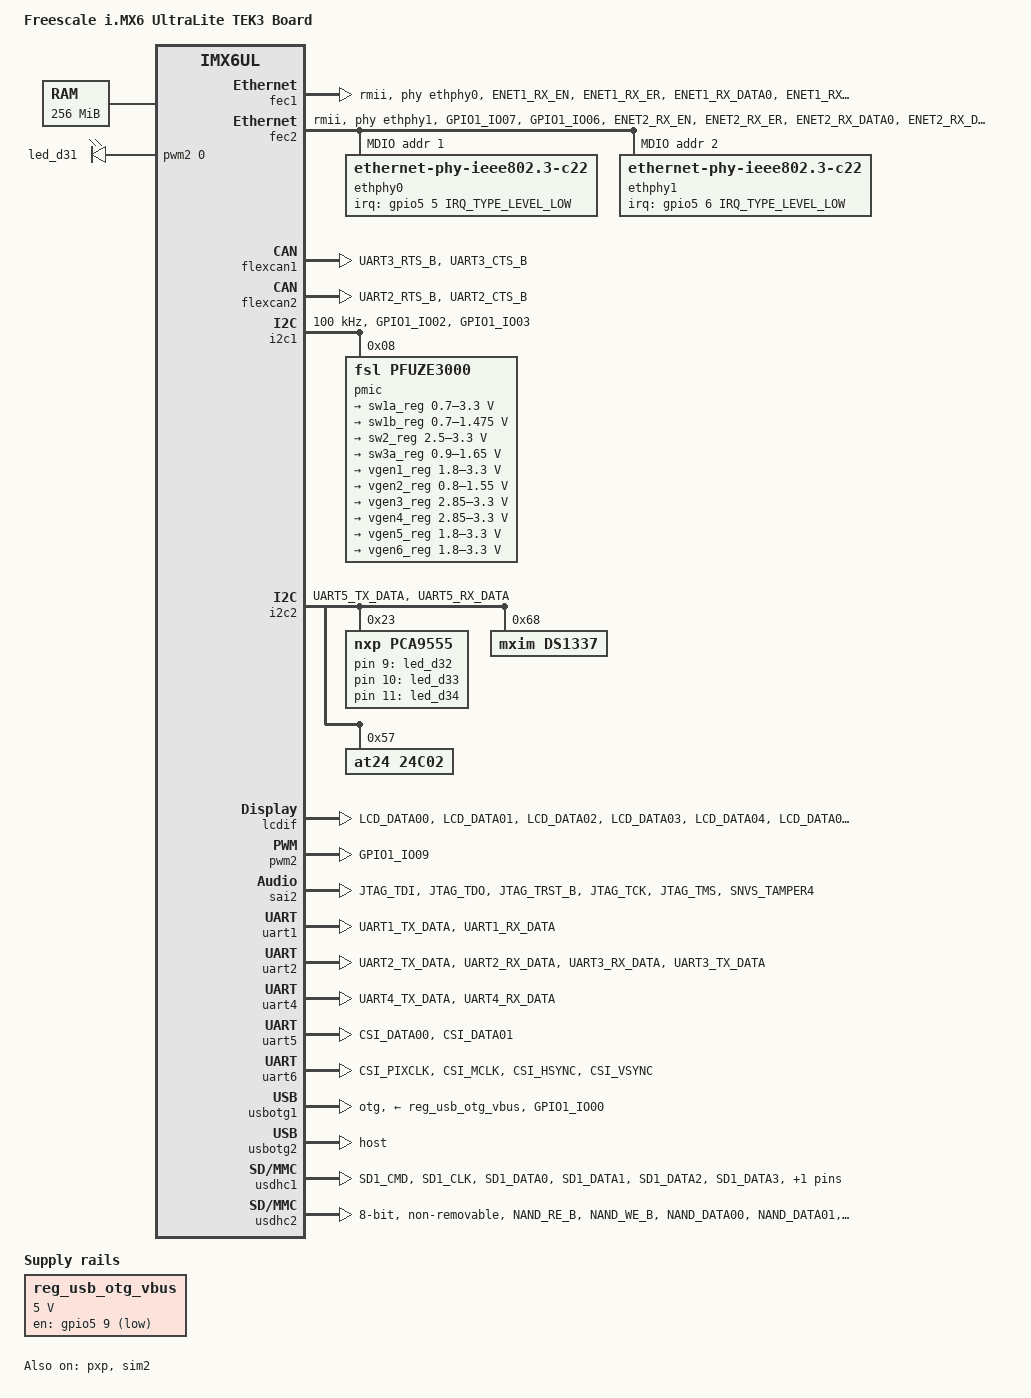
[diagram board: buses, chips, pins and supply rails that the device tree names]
/*
 * Copyright 2016 Technexion Ltd.
 *
 * Author: Richard Hu <richard.hu@technexion.com>
 *
 *
 * This program is free software; you can redistribute it and/or modify
 * it under the terms of the GNU General Public License version 2 as
 * published by the Free Software Foundation.
 *
 */

/dts-v1/;

#include <dt-bindings/input/input.h>
#include "imx6ul.dtsi"

/ {
	model = "Freescale i.MX6 UltraLite TEK3 Board";
	compatible = "fsl,imx6ul-tek3", "fsl,imx6ul";

	chosen {
		stdout-path = &uart1;
	};

	memory {
		reg = <0x80000000 0x10000000>;
	};

	reserved-memory {
		#address-cells = <1>;
		#size-cells = <1>;
		ranges;

		linux,cma {
			compatible = "shared-dma-pool";
			reusable;
			size = <0x6000000>;
			linux,cma-default;
		};
	};

	pxp_v4l2 {
		compatible = "fsl,imx6ul-pxp-v4l2", "fsl,imx6sx-pxp-v4l2", "fsl,imx6sl-pxp-v4l2";
		status = "okay";
	};

	regulators {
		compatible = "simple-bus";
		#address-cells = <1>;
		#size-cells = <0>;

		reg_usb_otg_vbus: regulator@0 {
			compatible = "regulator-fixed";
			reg = <0>;
			pinctrl-names = "default";
			pinctrl-0 = <&pinctrl_usb_otg1>;
			regulator-name = "usb_otg_vbus";
			regulator-min-microvolt = <5000000>;
			regulator-max-microvolt = <5000000>;
			gpio = <&gpio5 9 0>;
		};
	};

	gpio-edm {
		compatible = "gpio-edm";

		gpio_expio1 {
			label = "GPIO_EXPIO1";
			gpios = <&pca9555 12 0>;
			dir   = "out";
		};
		gpio_expio2 {
			label = "GPIO_EXPIO2";
			gpios = <&pca9555 13 0>;
			dir   = "out";
		};
		gpio_expio3 {
			label = "GPIO_EXPIO3";
			gpios = <&pca9555 14 0>;
			dir   = "in";
		};
		gpio_expio4 {
			label = "GPIO_EXPIO4";
			gpios = <&pca9555 15 0>;
			dir   = "in";
		};
		gpio_p133 {
			label = "GPIO_P133";
			gpios = <&pca9555 0 0>;
			dir   = "out";
		};
		gpio_p135 {
			label = "GPIO_P135";
			gpios = <&pca9555 1 0>;
			dir   = "out";
		};
		gpio_p137 {
			label = "GPIO_P137";
			gpios = <&pca9555 2 0>;
			dir   = "in";
		};
		gpio_p139 {
			label = "GPIO_P139";
			gpios = <&pca9555 3 0>;
			dir   = "in";
		};
		gpio_p233 {
			label = "GPIO_P233";
			gpios = <&gpio1 4 1>;
			dir   = "out";
		};
		gpio_p235 {
			label = "GPIO_P235";
			gpios = <&gpio1 5 1>;
			dir   = "out";
		};
		gpio_p237 {
			label = "GPIO_P237";
			gpios = <&gpio4 16 1>;
			dir   = "in";
		};
		gpio_p239 {
			label = "GPIO_P239";
			gpios = <&pca9555 4 1>;
			dir   = "in";
		};
		gpio_p241 {
			label = "GPIO_P241";
			gpios = <&pca9555 5 1>;
			dir   = "out";
		};
		gpio_p243 {
			label = "GPIO_P243";
			gpios = <&pca9555 6 1>;
			dir   = "out";
		};
		gpio_p245 {
			label = "GPIO_P245";
			gpios = <&pca9555 7 1>;
			dir   = "in";
		};
		gpio_p247 {
			label = "GPIO_P247";
			gpios = <&pca9555 8 1>;
			dir   = "in";
		};
	};

	gpio-leds {
		compatible = "gpio-leds";

		led_d32 {
			gpios = <&pca9555 9 0>;
			default-state = "on";
		};

		led_d33 {
			gpios = <&pca9555 10 0>;
			default-state = "on";
		};

		led_d34 {
			gpios = <&pca9555 11 0>;
			default-state = "on";
		};
	};

	pwm-leds {
		compatible = "pwm-leds";

		led_d31 {
			label = "led_d31";
			pwms = <&pwm2 0 5000000>;
			max-brightness = <255>;
			linux,default-trigger = "default-on";
		};
	};
};

&cpu0 {
	/*
	 * on i.MX6UL, no seperated VDD_ARM_IN and VDD_SOC_IN,
	 * to align with other platform and use the same cpufreq
	 * driver, still use the seperated OPP define for arm
	 * and soc.
	 */
	operating-points = <
		/* kHz	uV */
		528000	1175000
		396000	1175000
		198000	1175000
	>;
	fsl,soc-operating-points = <
		/* KHz	uV */
		528000	1175000
		396000	1175000
		198000	1175000
	>;
	arm-supply = <&sw1b_reg>;
	soc-supply = <&sw1b_reg>;
	fsl,arm-soc-shared = <1>;
};

&clks {
	assigned-clocks = <&clks IMX6UL_CLK_PLL4_AUDIO_DIV>;
	assigned-clock-rates = <786432000>;
};

&fec1 {
	pinctrl-names = "default";
	pinctrl-0 = <&pinctrl_enet1>;
	phy-mode = "rmii";
	phy-handle = <&ethphy0>;
	status = "okay";
	phy-reset-gpios = <&gpio5 2 GPIO_ACTIVE_LOW>;
	phy-reset-duration = <11>;
};

&fec2 {
	pinctrl-names = "default";
	pinctrl-0 = <&pinctrl_enet2>;
	phy-mode = "rmii";
	phy-handle = <&ethphy1>;
	status = "okay";
	phy-reset-gpios = <&gpio5 3 GPIO_ACTIVE_LOW>;
	phy-reset-duration = <11>;

	mdio {
		#address-cells = <1>;
		#size-cells = <0>;

		ethphy0: ethernet-phy@1 {
			compatible = "ethernet-phy-ieee802.3-c22";
			reg = <1>;
			max-speed = <100>;
			interrupt-parent = <&gpio5>;
			interrupts = <5 IRQ_TYPE_LEVEL_LOW 0>;
		};

		ethphy1: ethernet-phy@2 {
			compatible = "ethernet-phy-ieee802.3-c22";
			reg = <2>;
			max-speed = <100>;
			interrupt-parent = <&gpio5>;
			interrupts = <6 IRQ_TYPE_LEVEL_LOW 0>;
		};
	};
};

&flexcan1 {
	pinctrl-names = "default";
	pinctrl-0 = <&pinctrl_flexcan1>;
	status = "okay";
};

&flexcan2 {
	pinctrl-names = "default";
	pinctrl-0 = <&pinctrl_flexcan2>;
	status = "okay";
};

&gpc {
	fsl,cpu_pupscr_sw2iso = <0x1>;
	fsl,cpu_pupscr_sw = <0x0>;
	fsl,cpu_pdnscr_iso2sw = <0x1>;
	fsl,cpu_pdnscr_iso = <0x1>;
	fsl,ldo-bypass = <0>; /* DCDC, ldo-enable */
};

&i2c1 {
	clock-frequency = <100000>;
	pinctrl-names = "default";
	pinctrl-0 = <&pinctrl_i2c1>;
	status = "okay";

	pmic: pfuze3000@08 {
		compatible = "fsl,pfuze3000";
		reg = <0x08>;

		regulators {
			sw1a_reg: sw1a {
				regulator-min-microvolt = <700000>;
				regulator-max-microvolt = <3300000>;
				regulator-boot-on;
				regulator-always-on;
				regulator-ramp-delay = <6250>;
			};

			/* VDD_ARM_SOC_IN*/
			sw1b_reg: sw1b {
				regulator-min-microvolt = <700000>;
				regulator-max-microvolt = <1475000>;
				regulator-boot-on;
				regulator-always-on;
				regulator-ramp-delay = <6250>;
			};

			sw2_reg: sw2 {
				regulator-min-microvolt = <2500000>;
				regulator-max-microvolt = <3300000>;
				regulator-boot-on;
				regulator-always-on;
			};

			/* DRAM */
			sw3a_reg: sw3 {
				regulator-min-microvolt = <900000>;
				regulator-max-microvolt = <1650000>;
				regulator-boot-on;
				regulator-always-on;
			};

			/* DRAM */
			vref_reg: vrefddr {
				regulator-boot-on;
				regulator-always-on;
			};

			vgen1_reg: vldo1 {
				regulator-min-microvolt = <1800000>;
				regulator-max-microvolt = <3300000>;
				regulator-always-on;
			};

			vgen2_reg: vldo2 {
				regulator-min-microvolt = <800000>;
				regulator-max-microvolt = <1550000>;
				regulator-always-on;
			};

			vgen3_reg: vccsd {
				regulator-min-microvolt = <2850000>;
				regulator-max-microvolt = <3300000>;
				regulator-always-on;
			};

			vgen4_reg: v33 {
				regulator-min-microvolt = <2850000>;
				regulator-max-microvolt = <3300000>;
				regulator-always-on;
			};

			vgen5_reg: vldo3 {
				regulator-min-microvolt = <1800000>;
				regulator-max-microvolt = <3300000>;
				regulator-always-on;
			};

			vgen6_reg: vldo4 {
				regulator-min-microvolt = <1800000>;
				regulator-max-microvolt = <3300000>;
				regulator-always-on;
			};
		};
	};
};

&i2c2 {
	clock_frequency = <100000>;
	pinctrl-names = "default";
	pinctrl-0 = <&pinctrl_i2c2>;
	status = "okay";

	pca9555: pca9555@23 {
		compatible = "nxp,pca9555";
//		interrupt-parent = <&gpio1>;
//		interrupts = <7 0x2>;
		gpio-controller;
		#gpio-cells = <2>;
//		interrupt-controller;
		#interrupt-cells = <2>;
		reg = <0x23>;
	};

	ds1337: rtc@68 {
		compatible = "mxim,ds1337";
		reg = <0x68>;
	};

	at24@57 {
		compatible = "at24,24c02";
		pagesize = <8>;
		reg = <0x57>;
	};
};

&iomuxc {
	pinctrl-names = "default";
	pinctrl-0 = <&pinctrl_hog_1>;
	imx6ul-tek3 {
		pinctrl_hog_1: hoggrp-1 {
			fsl,pins = <
				MX6UL_PAD_UART1_RTS_B__GPIO1_IO19	0x17059		/* SD1 CD */
				MX6UL_PAD_GPIO1_IO08__GPIO1_IO08	0x03029 /* PCA9555 interrupt */
				MX6UL_PAD_GPIO1_IO04__GPIO1_IO04	0x1b0b9		/* IO expansion board output- GPIO_P233 - 1   */
				MX6UL_PAD_GPIO1_IO05__GPIO1_IO05	0x1b0b9		/* IO expansion board output- GPIO_P235 - 41  */
				MX6UL_PAD_NAND_DQS__GPIO4_IO16		0x80000000	/* IO expansion board input - GPIO_P237 - 42  */
			>;
		};

		pinctrl_csi1: csi1grp {
			fsl,pins = <
				MX6UL_PAD_CSI_MCLK__CSI_MCLK		0x1b088
				MX6UL_PAD_CSI_PIXCLK__CSI_PIXCLK	0x1b088
				MX6UL_PAD_CSI_VSYNC__CSI_VSYNC		0x1b088
				MX6UL_PAD_CSI_HSYNC__CSI_HSYNC		0x1b088
				MX6UL_PAD_CSI_DATA00__CSI_DATA02	0x1b088
				MX6UL_PAD_CSI_DATA01__CSI_DATA03	0x1b088
				MX6UL_PAD_CSI_DATA02__CSI_DATA04	0x1b088
				MX6UL_PAD_CSI_DATA03__CSI_DATA05	0x1b088
				MX6UL_PAD_CSI_DATA04__CSI_DATA06	0x1b088
				MX6UL_PAD_CSI_DATA05__CSI_DATA07	0x1b088
				MX6UL_PAD_CSI_DATA06__CSI_DATA08	0x1b088
				MX6UL_PAD_CSI_DATA07__CSI_DATA09	0x1b088
			>;
		};

		pinctrl_enet1: enet1grp {
			fsl,pins = <
				MX6UL_PAD_ENET1_RX_EN__ENET1_RX_EN	0x1b0b0
				MX6UL_PAD_ENET1_RX_ER__ENET1_RX_ER	0x1b0b0
				MX6UL_PAD_ENET1_RX_DATA0__ENET1_RDATA00	0x1b0b0
				MX6UL_PAD_ENET1_RX_DATA1__ENET1_RDATA01	0x1b0b0
				MX6UL_PAD_ENET1_TX_EN__ENET1_TX_EN	0x1b0b0
				MX6UL_PAD_ENET1_TX_DATA0__ENET1_TDATA00	0x1b0b0
				MX6UL_PAD_ENET1_TX_DATA1__ENET1_TDATA01	0x1b0b0
				MX6UL_PAD_ENET1_TX_CLK__ENET1_REF_CLK1	0x4001b031
				MX6UL_PAD_SNVS_TAMPER5__GPIO5_IO05	0x800
				MX6UL_PAD_SNVS_TAMPER2__GPIO5_IO02	0x79
			>;
		};

		pinctrl_enet2: enet2grp {
			fsl,pins = <
				MX6UL_PAD_GPIO1_IO07__ENET2_MDC		0x1b0b0
				MX6UL_PAD_GPIO1_IO06__ENET2_MDIO	0x1b0b0
				MX6UL_PAD_ENET2_RX_EN__ENET2_RX_EN	0x1b0b0
				MX6UL_PAD_ENET2_RX_ER__ENET2_RX_ER	0x1b0b0
				MX6UL_PAD_ENET2_RX_DATA0__ENET2_RDATA00	0x1b0b0
				MX6UL_PAD_ENET2_RX_DATA1__ENET2_RDATA01	0x1b0b0
				MX6UL_PAD_ENET2_TX_EN__ENET2_TX_EN	0x1b0b0
				MX6UL_PAD_ENET2_TX_DATA0__ENET2_TDATA00	0x1b0b0
				MX6UL_PAD_ENET2_TX_DATA1__ENET2_TDATA01	0x1b0b0
				MX6UL_PAD_ENET2_TX_CLK__ENET2_REF_CLK2	0x4001b031
				MX6UL_PAD_SNVS_TAMPER6__GPIO5_IO06	0x800
				MX6UL_PAD_SNVS_TAMPER3__GPIO5_IO03	0x79
			>;
		};

		pinctrl_flexcan1: flexcan1grp{
			fsl,pins = <
				MX6UL_PAD_UART3_RTS_B__FLEXCAN1_RX	0x1b020
				MX6UL_PAD_UART3_CTS_B__FLEXCAN1_TX	0x1b020
			>;
		};

		pinctrl_flexcan2: flexcan2grp{
			fsl,pins = <
				MX6UL_PAD_UART2_RTS_B__FLEXCAN2_RX	0x1b020
				MX6UL_PAD_UART2_CTS_B__FLEXCAN2_TX	0x1b020
			>;
		};

		pinctrl_i2c1: i2c1grp {
			fsl,pins = <
				MX6UL_PAD_GPIO1_IO02__I2C1_SCL 0x4001b8b0
				MX6UL_PAD_GPIO1_IO03__I2C1_SDA 0x4001b8b0
			>;
		};

		pinctrl_i2c2: i2c2grp {
			fsl,pins = <
				MX6UL_PAD_UART5_TX_DATA__I2C2_SCL 0x4001b8b0
				MX6UL_PAD_UART5_RX_DATA__I2C2_SDA 0x4001b8b0
			>;
		};

		pinctrl_lcdif_dat: lcdifdatgrp {
			fsl,pins = <
				MX6UL_PAD_LCD_DATA00__LCDIF_DATA00  0x79
				MX6UL_PAD_LCD_DATA01__LCDIF_DATA01  0x79
				MX6UL_PAD_LCD_DATA02__LCDIF_DATA02  0x79
				MX6UL_PAD_LCD_DATA03__LCDIF_DATA03  0x79
				MX6UL_PAD_LCD_DATA04__LCDIF_DATA04  0x79
				MX6UL_PAD_LCD_DATA05__LCDIF_DATA05  0x79
				MX6UL_PAD_LCD_DATA06__LCDIF_DATA06  0x79
				MX6UL_PAD_LCD_DATA07__LCDIF_DATA07  0x79
				MX6UL_PAD_LCD_DATA08__LCDIF_DATA08  0x79
				MX6UL_PAD_LCD_DATA09__LCDIF_DATA09  0x79
				MX6UL_PAD_LCD_DATA10__LCDIF_DATA10  0x79
				MX6UL_PAD_LCD_DATA11__LCDIF_DATA11  0x79
				MX6UL_PAD_LCD_DATA12__LCDIF_DATA12  0x79
				MX6UL_PAD_LCD_DATA13__LCDIF_DATA13  0x79
				MX6UL_PAD_LCD_DATA14__LCDIF_DATA14  0x79
				MX6UL_PAD_LCD_DATA15__LCDIF_DATA15  0x79
				MX6UL_PAD_LCD_DATA16__LCDIF_DATA16  0x79
				MX6UL_PAD_LCD_DATA17__LCDIF_DATA17  0x79
				MX6UL_PAD_LCD_DATA18__LCDIF_DATA18  0x79
				MX6UL_PAD_LCD_DATA19__LCDIF_DATA19  0x79
				MX6UL_PAD_LCD_DATA20__LCDIF_DATA20  0x79
				MX6UL_PAD_LCD_DATA21__LCDIF_DATA21  0x79
				MX6UL_PAD_LCD_DATA22__LCDIF_DATA22  0x79
				MX6UL_PAD_LCD_DATA23__LCDIF_DATA23  0x79
			>;
		};

		pinctrl_lcdif_ctrl: lcdifctrlgrp {
			fsl,pins = <
				MX6UL_PAD_LCD_CLK__LCDIF_CLK	    0x79
				MX6UL_PAD_LCD_ENABLE__LCDIF_ENABLE  0x79
				MX6UL_PAD_LCD_HSYNC__LCDIF_HSYNC    0x79
				MX6UL_PAD_LCD_VSYNC__LCDIF_VSYNC    0x79
			>;
		};

		pinctrl_pwm1: pwm1grp {
			fsl,pins = <
				MX6UL_PAD_GPIO1_IO08__PWM1_OUT   0x110b0
			>;
		};

		pinctrl_pwm2: pwm2grp {
			fsl,pins = <
				MX6UL_PAD_GPIO1_IO09__PWM2_OUT   0x110b0
			>;
		};

		pinctrl_usb_otg1_id: usbotg1idgrp {
			fsl,pins = <
				MX6UL_PAD_GPIO1_IO00__ANATOP_OTG1_ID	0x17059
			>;
		};

		pinctrl_usb_otg1: usbotg1grp {
			fsl,pins = <
				MX6UL_PAD_SNVS_TAMPER9__GPIO5_IO09        0x10b0
			>;
		};

		pinctrl_qspi: qspigrp {
			fsl,pins = <
				MX6UL_PAD_NAND_WP_B__QSPI_A_SCLK      0x70a1
				MX6UL_PAD_NAND_READY_B__QSPI_A_DATA00 0x70a1
				MX6UL_PAD_NAND_CE0_B__QSPI_A_DATA01   0x70a1
				MX6UL_PAD_NAND_CE1_B__QSPI_A_DATA02   0x70a1
				MX6UL_PAD_NAND_CLE__QSPI_A_DATA03     0x70a1
				MX6UL_PAD_NAND_DQS__QSPI_A_SS0_B      0x70a1
			>;
		};

		pinctrl_sai2: sai2grp {
			fsl,pins = <
				MX6UL_PAD_JTAG_TDI__SAI2_TX_BCLK	0x17088
				MX6UL_PAD_JTAG_TDO__SAI2_TX_SYNC	0x17088
				MX6UL_PAD_JTAG_TRST_B__SAI2_TX_DATA	0x11088
				MX6UL_PAD_JTAG_TCK__SAI2_RX_DATA	0x11088
				MX6UL_PAD_JTAG_TMS__SAI2_MCLK		0x17088
				MX6UL_PAD_SNVS_TAMPER4__GPIO5_IO04	0x17059
			>;
		};

		pinctrl_sim2_1: sim2grp-1 {
			fsl,pins = <
				MX6UL_PAD_CSI_DATA03__SIM2_PORT1_PD		0xb808
				MX6UL_PAD_CSI_DATA04__SIM2_PORT1_CLK		0x11
				MX6UL_PAD_CSI_DATA05__SIM2_PORT1_RST_B		0xb810
				MX6UL_PAD_CSI_DATA06__SIM2_PORT1_SVEN		0xb810
				MX6UL_PAD_CSI_DATA07__SIM2_PORT1_TRXD		0xb811
				MX6UL_PAD_CSI_DATA02__GPIO4_IO23		0x3008
			>;
		};

		pinctrl_spi4: spi4grp {
			fsl,pins = <
				MX6UL_PAD_BOOT_MODE0__GPIO5_IO10	0x70a1
				MX6UL_PAD_BOOT_MODE1__GPIO5_IO11	0x70a1
				MX6UL_PAD_SNVS_TAMPER7__GPIO5_IO07	0x70a1
				MX6UL_PAD_SNVS_TAMPER8__GPIO5_IO08	0x80000000
			>;
		};

		pinctrl_tsc: tscgrp {
			fsl,pins = <
				MX6UL_PAD_GPIO1_IO01__GPIO1_IO01	0xb0
				MX6UL_PAD_GPIO1_IO02__GPIO1_IO02	0xb0
				MX6UL_PAD_GPIO1_IO03__GPIO1_IO03	0xb0
				MX6UL_PAD_GPIO1_IO04__GPIO1_IO04	0xb0
			>;
		};

		pinctrl_uart1: uart1grp {
			fsl,pins = <
				MX6UL_PAD_UART1_TX_DATA__UART1_DCE_TX 0x1b0b1
				MX6UL_PAD_UART1_RX_DATA__UART1_DCE_RX 0x1b0b1
			>;
		};

		pinctrl_uart2: uart2grp {
			fsl,pins = <
				MX6UL_PAD_UART2_TX_DATA__UART2_DCE_TX	0x1b0b1
				MX6UL_PAD_UART2_RX_DATA__UART2_DCE_RX	0x1b0b1
				MX6UL_PAD_UART3_RX_DATA__UART2_DCE_RTS	0x1b0b1
				MX6UL_PAD_UART3_TX_DATA__UART2_DCE_CTS	0x1b0b1
			>;
		};

		pinctrl_uart2dte: uart2dtegrp {
			fsl,pins = <
				MX6UL_PAD_UART2_TX_DATA__UART2_DTE_RX	0x1b0b1
				MX6UL_PAD_UART2_RX_DATA__UART2_DTE_TX	0x1b0b1
				MX6UL_PAD_UART3_RX_DATA__UART2_DTE_CTS	0x1b0b1
				MX6UL_PAD_UART3_TX_DATA__UART2_DTE_RTS	0x1b0b1
			>;
		};

		pinctrl_uart4: uart4grp {
			fsl,pins = <
				MX6UL_PAD_UART4_TX_DATA__UART4_DCE_TX	0x1b0b1
				MX6UL_PAD_UART4_RX_DATA__UART4_DCE_RX	0x1b0b1
			>;
		};

		pinctrl_uart5: uart5grp {
			fsl,pins = <
				MX6UL_PAD_CSI_DATA00__UART5_DCE_TX	0x1b0b1
				MX6UL_PAD_CSI_DATA01__UART5_DCE_RX	0x1b0b1
			>;
		};

		pinctrl_uart6: uart6grp {
			fsl,pins = <
				MX6UL_PAD_CSI_PIXCLK__UART6_DCE_RX	0x1b0b1
				MX6UL_PAD_CSI_MCLK__UART6_DCE_TX	0x1b0b1
				MX6UL_PAD_CSI_HSYNC__UART6_DCE_CTS	0x1b0b1
				MX6UL_PAD_CSI_VSYNC__UART6_DCE_RTS	0x1b0b1
			>;
		};

		pinctrl_usdhc1: usdhc1grp {
			fsl,pins = <
				MX6UL_PAD_SD1_CMD__USDHC1_CMD     0x17059
				MX6UL_PAD_SD1_CLK__USDHC1_CLK     0x10071
				MX6UL_PAD_SD1_DATA0__USDHC1_DATA0 0x17059
				MX6UL_PAD_SD1_DATA1__USDHC1_DATA1 0x17059
				MX6UL_PAD_SD1_DATA2__USDHC1_DATA2 0x17059
				MX6UL_PAD_SD1_DATA3__USDHC1_DATA3 0x17059
			>;
		};

		pinctrl_usdhc1_100mhz: usdhc1grp100mhz {
			fsl,pins = <
				MX6UL_PAD_SD1_CMD__USDHC1_CMD     0x170b9
				MX6UL_PAD_SD1_CLK__USDHC1_CLK     0x100b9
				MX6UL_PAD_SD1_DATA0__USDHC1_DATA0 0x170b9
				MX6UL_PAD_SD1_DATA1__USDHC1_DATA1 0x170b9
				MX6UL_PAD_SD1_DATA2__USDHC1_DATA2 0x170b9
				MX6UL_PAD_SD1_DATA3__USDHC1_DATA3 0x170b9
			>;
		};

		pinctrl_usdhc1_200mhz: usdhc1grp200mhz {
			fsl,pins = <
				MX6UL_PAD_SD1_CMD__USDHC1_CMD     0x170f9
				MX6UL_PAD_SD1_CLK__USDHC1_CLK     0x100f9
				MX6UL_PAD_SD1_DATA0__USDHC1_DATA0 0x170f9
				MX6UL_PAD_SD1_DATA1__USDHC1_DATA1 0x170f9
				MX6UL_PAD_SD1_DATA2__USDHC1_DATA2 0x170f9
				MX6UL_PAD_SD1_DATA3__USDHC1_DATA3 0x170f9
			>;
		};

		pinctrl_usdhc2: usdhc2grp {
			fsl,pins = <
				MX6UL_PAD_NAND_RE_B__USDHC2_CLK     0x10069
				MX6UL_PAD_NAND_WE_B__USDHC2_CMD     0x17059
				MX6UL_PAD_NAND_DATA00__USDHC2_DATA0 0x17059
				MX6UL_PAD_NAND_DATA01__USDHC2_DATA1 0x17059
				MX6UL_PAD_NAND_DATA02__USDHC2_DATA2 0x17059
				MX6UL_PAD_NAND_DATA03__USDHC2_DATA3 0x17059
				MX6UL_PAD_NAND_DATA04__USDHC2_DATA4 0x17059
				MX6UL_PAD_NAND_DATA05__USDHC2_DATA5 0x17059
				MX6UL_PAD_NAND_DATA06__USDHC2_DATA6 0x17059
				MX6UL_PAD_NAND_DATA07__USDHC2_DATA7 0x17059
			>;
		};

		pinctrl_wdog: wdoggrp {
			fsl,pins = <
				MX6UL_PAD_LCD_RESET__WDOG1_WDOG_ANY    0x30b0
			>;
		};
	};
};

&lcdif {
	pinctrl-names = "default";
	pinctrl-0 = <&pinctrl_lcdif_dat
		     &pinctrl_lcdif_ctrl>;
	display = <&display0>;
	status = "okay";

	display0: display {
		bits-per-pixel = <24>;
		bus-width = <24>;

		display-timings {
			native-mode = <&vga_timing0>;
			vga_timing0: vga_timing0 {
			clock-frequency = <74929000>;
			hactive = <1024>;
			vactive = <768>;
			hback-porch = <144>;
			hfront-porch = <24>;
			vback-porch = <29>;
			vfront-porch = <3>;
			hsync-len = <136>;
			vsync-len = <6>;
			hsync-active = <0>;
			vsync-active = <0>;
			de-active = <1>;
			pixelclk-active = <0>;
			interlaced =  <0>;
			};
		};
	};
};

&pwm2 {
	pinctrl-names = "default";
	pinctrl-0 = <&pinctrl_pwm2>;
	clocks = <&clks IMX6UL_CLK_PWM2>,
		 <&clks IMX6UL_CLK_PWM2>;
	status = "okay";
};

&pxp {
	status = "okay";
};

&sai2 {
	pinctrl-names = "default";
	pinctrl-0 = <&pinctrl_sai2>;

	assigned-clocks = <&clks IMX6UL_CLK_SAI2_SEL>,
			  <&clks IMX6UL_CLK_SAI2>;
	assigned-clock-parents = <&clks IMX6UL_CLK_PLL4_AUDIO_DIV>;
	assigned-clock-rates = <0>, <12288000>;

	status = "okay";
};

&sim2 {
	pinctrl-names = "default";
	pinctrl-0 = <&pinctrl_sim2_1>;
	assigned-clocks = <&clks IMX6UL_CLK_SIM_SEL>;
	assigned-clock-parents = <&clks IMX6UL_CLK_SIM_PODF>;
	assigned-clock-rates = <240000000>;
	/* GPIO_ACTIVE_HIGH/LOW:sim card voltage control
	 * NCN8025:Vcc = ACTIVE_HIGH?5V:3V
	 * TDA8035:Vcc = ACTIVE_HIGH?5V:1.8V
	 */
	pinctrl-assert-gpios = <&gpio4 23 GPIO_ACTIVE_HIGH>;
	port = <1>;
	sven_low_active;
	status = "okay";
};

&uart1 {
	pinctrl-names = "default";
	pinctrl-0 = <&pinctrl_uart1>;
	status = "okay";
};

&uart2 {
	pinctrl-names = "default";
	pinctrl-0 = <&pinctrl_uart2>;
	fsl,uart-has-rtscts;
	/* for DTE mode, add below change */
	/* fsl,dte-mode; */
	/* pinctrl-0 = <&pinctrl_uart2dte>; */
	status = "okay";
};

&uart4 {
	pinctrl-names = "default";
	pinctrl-0 = <&pinctrl_uart4>;
	fsl,uart-has-rtscts;
	status = "okay";
};

&uart5 {
	pinctrl-names = "default";
	pinctrl-0 = <&pinctrl_uart5>;
	fsl,uart-has-rtscts;
	status = "okay";
};

&uart6 {
	pinctrl-names = "default";
	pinctrl-0 = <&pinctrl_uart6>;
	fsl,uart-has-rtscts;
	status = "okay";
};

&usbotg1 {
	dr_mode = "otg";
	srp-disable;
	hnp-disable;
	adp-disable;
	status = "okay";
};

&usbotg1 {
	vbus-supply = <&reg_usb_otg_vbus>;
	pinctrl-names = "default";
	pinctrl-0 = <&pinctrl_usb_otg1_id>;
	dr_mode = "otg";
	disable-over-current;
	status = "okay";
};

&usbotg2 {
	dr_mode = "host";
	disable-over-current;
	status = "okay";
};

&usbphy1 {
	tx-d-cal = <0x5>;
};

&usbphy2 {
	tx-d-cal = <0x5>;
};

/* Baseboard microSD slot */
&usdhc1 {
	pinctrl-names = "default";
	pinctrl-0 = <&pinctrl_usdhc1>;
	cd-gpios = <&gpio1 19 GPIO_ACTIVE_LOW>;
	keep-power-in-suspend;
	enable-sdio-wakeup;
	status = "okay";
};

/* Module i-Nand */
&usdhc2 {
	pinctrl-names = "default";
	pinctrl-0 = <&pinctrl_usdhc2>;
	bus-width = <8>;
	no-1-8-v;
	non-removable;
	keep-power-in-suspend;
	enable-sdio-wakeup;
	status = "okay";
};

&wdog1 {
	pinctrl-names = "default";
	pinctrl-0 = <&pinctrl_wdog>;
	fsl,wdog_b;
};
